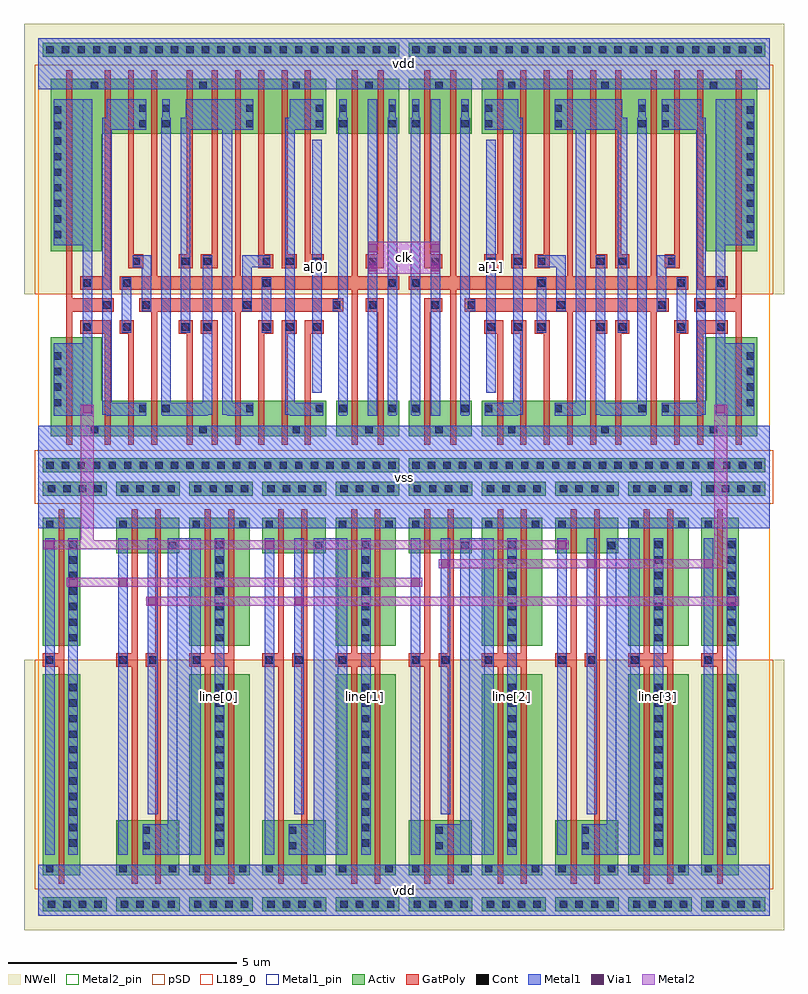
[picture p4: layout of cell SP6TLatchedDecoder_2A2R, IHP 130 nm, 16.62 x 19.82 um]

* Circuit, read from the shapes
.subckt SP6TLatchedDecoder_2A2R a[0] a[1] clk line[0] line[1] line[2] line[3] vdd vss
XM1 SP6TDec_nand2_x0_3/i0 SP6TDec_inv_x1_1/i vss vss sg13_lv_nmos w=2.8u l=0.13u
XM2 vss n1 SP6TDec_inv_x1_1/i vss sg13_lv_nmos w=2.17u l=0.13u
XM3 n2 SP6TDec_inv_x1_1/i vss vss sg13_lv_nmos w=0.78u l=0.13u
XM4 n1 n3 n2 vss sg13_lv_nmos w=0.78u l=0.13u
XM5 n4 SP6TDec_nand2_x0_3/i0 vss vss sg13_lv_nmos w=0.78u l=0.13u
XM6 n5 n6 n1 vss sg13_lv_nmos w=0.78u l=0.13u
XM7 SP6TDec_inv_x2_8/i SP6TDec_nand2_x0_3/i1 n4 vss sg13_lv_nmos w=0.78u l=0.13u
XM8 vss n7 n5 vss sg13_lv_nmos w=0.78u l=0.13u
XM9 line[0] SP6TDec_inv_x2_8/i vss vss sg13_lv_nmos w=2.8u l=0.13u m=2
XM10 n8 n5 vss vss sg13_lv_nmos w=0.78u l=0.13u
XM11 n7 n6 n8 vss sg13_lv_nmos w=0.78u l=0.13u
XM12 n9 n3 n7 vss sg13_lv_nmos w=0.78u l=0.13u
XM13 n10 SP6TDec_inv_x1_1/i vss vss sg13_lv_nmos w=0.78u l=0.13u
XM14 vss n11 n9 vss sg13_lv_nmos w=0.78u l=0.13u
XM15 SP6TDec_inv_x2_9/i SP6TDec_nand2_x0_3/i1 n10 vss sg13_lv_nmos w=0.78u l=0.13u
XM16 n11 a[0] vss vss sg13_lv_nmos w=0.78u l=0.13u
XM17 line[1] SP6TDec_inv_x2_9/i vss vss sg13_lv_nmos w=2.8u l=0.13u m=2
XM18 vss n3 n6 vss sg13_lv_nmos w=0.78u l=0.13u
XM19 n3 clk vss vss sg13_lv_nmos w=0.78u l=0.13u
XM20 n12 SP6TDec_nand2_x0_3/i0 vss vss sg13_lv_nmos w=0.78u l=0.13u
XM21 vss clk n13 vss sg13_lv_nmos w=0.78u l=0.13u
XM22 SP6TDec_inv_x2_10/i SP6TDec_inv_x1_2/i n12 vss sg13_lv_nmos w=0.78u l=0.13u
XM23 n14 n13 vss vss sg13_lv_nmos w=0.78u l=0.13u
XM24 vss a[1] n15 vss sg13_lv_nmos w=0.78u l=0.13u
XM25 line[2] SP6TDec_inv_x2_10/i vss vss sg13_lv_nmos w=2.8u l=0.13u m=2
XM26 n16 n15 vss vss sg13_lv_nmos w=0.78u l=0.13u
XM27 n17 n13 n16 vss sg13_lv_nmos w=0.78u l=0.13u
XM28 n18 n14 n17 vss sg13_lv_nmos w=0.78u l=0.13u
XM29 n19 SP6TDec_inv_x1_1/i vss vss sg13_lv_nmos w=0.78u l=0.13u
XM30 vss n20 n18 vss sg13_lv_nmos w=0.78u l=0.13u
XM31 SP6TDec_inv_x2_11/i SP6TDec_inv_x1_2/i n19 vss sg13_lv_nmos w=0.78u l=0.13u
XM32 n20 n17 vss vss sg13_lv_nmos w=0.78u l=0.13u
XM33 line[3] SP6TDec_inv_x2_11/i vss vss sg13_lv_nmos w=2.8u l=0.13u m=2
XM34 n21 n14 n20 vss sg13_lv_nmos w=0.78u l=0.13u
XM35 n22 n13 n21 vss sg13_lv_nmos w=0.78u l=0.13u
XM36 vss SP6TDec_inv_x1_2/i n22 vss sg13_lv_nmos w=0.78u l=0.13u
XM37 SP6TDec_nand2_x0_3/i1 SP6TDec_inv_x1_2/i vss vss sg13_lv_nmos w=2.8u l=0.13u
XM38 SP6TDec_inv_x1_2/i n21 vss vss sg13_lv_nmos w=2.17u l=0.13u
XM39 SP6TDec_nand2_x0_3/i0 SP6TDec_inv_x1_1/i vdd vdd sg13_lv_pmos w=4.4u l=0.13u
XM40 vdd n1 SP6TDec_inv_x1_1/i vdd sg13_lv_pmos w=3.77u l=0.13u
XM41 n23 SP6TDec_inv_x1_1/i vdd vdd sg13_lv_pmos w=1.2u l=0.13u
XM42 n1 n6 n23 vdd sg13_lv_pmos w=1.2u l=0.13u
XM43 SP6TDec_inv_x2_8/i SP6TDec_nand2_x0_3/i0 vdd vdd sg13_lv_pmos w=1.2u l=0.13u
XM44 n5 n3 n1 vdd sg13_lv_pmos w=1.2u l=0.13u
XM45 vdd SP6TDec_nand2_x0_3/i1 SP6TDec_inv_x2_8/i vdd sg13_lv_pmos w=1.2u l=0.13u
XM46 vdd n7 n5 vdd sg13_lv_pmos w=1.2u l=0.13u
XM47 line[0] SP6TDec_inv_x2_8/i vdd vdd sg13_lv_pmos w=4.4u l=0.13u m=2
XM48 n24 n5 vdd vdd sg13_lv_pmos w=1.2u l=0.13u
XM49 n7 n3 n24 vdd sg13_lv_pmos w=1.2u l=0.13u
XM50 n25 n6 n7 vdd sg13_lv_pmos w=1.2u l=0.13u
XM51 SP6TDec_inv_x2_9/i SP6TDec_inv_x1_1/i vdd vdd sg13_lv_pmos w=1.2u l=0.13u
XM52 vdd n11 n25 vdd sg13_lv_pmos w=1.2u l=0.13u
XM53 vdd SP6TDec_nand2_x0_3/i1 SP6TDec_inv_x2_9/i vdd sg13_lv_pmos w=1.2u l=0.13u
XM54 n11 a[0] vdd vdd sg13_lv_pmos w=1.2u l=0.13u
XM55 line[1] SP6TDec_inv_x2_9/i vdd vdd sg13_lv_pmos w=4.4u l=0.13u m=2
XM56 vdd n3 n6 vdd sg13_lv_pmos w=1.2u l=0.13u
XM57 n3 clk vdd vdd sg13_lv_pmos w=1.2u l=0.13u
XM58 SP6TDec_inv_x2_10/i SP6TDec_nand2_x0_3/i0 vdd vdd sg13_lv_pmos w=1.2u l=0.13u
XM59 vdd clk n13 vdd sg13_lv_pmos w=1.2u l=0.13u
XM60 vdd SP6TDec_inv_x1_2/i SP6TDec_inv_x2_10/i vdd sg13_lv_pmos w=1.2u l=0.13u
XM61 n14 n13 vdd vdd sg13_lv_pmos w=1.2u l=0.13u
XM62 vdd a[1] n15 vdd sg13_lv_pmos w=1.2u l=0.13u
XM63 line[2] SP6TDec_inv_x2_10/i vdd vdd sg13_lv_pmos w=4.4u l=0.13u m=2
XM64 n26 n15 vdd vdd sg13_lv_pmos w=1.2u l=0.13u
XM65 n17 n14 n26 vdd sg13_lv_pmos w=1.2u l=0.13u
XM66 n27 n13 n17 vdd sg13_lv_pmos w=1.2u l=0.13u
XM67 SP6TDec_inv_x2_11/i SP6TDec_inv_x1_1/i vdd vdd sg13_lv_pmos w=1.2u l=0.13u
XM68 vdd n20 n27 vdd sg13_lv_pmos w=1.2u l=0.13u
XM69 vdd SP6TDec_inv_x1_2/i SP6TDec_inv_x2_11/i vdd sg13_lv_pmos w=1.2u l=0.13u
XM70 n20 n17 vdd vdd sg13_lv_pmos w=1.2u l=0.13u
XM71 line[3] SP6TDec_inv_x2_11/i vdd vdd sg13_lv_pmos w=4.4u l=0.13u m=2
XM72 n21 n13 n20 vdd sg13_lv_pmos w=1.2u l=0.13u
XM73 n28 n14 n21 vdd sg13_lv_pmos w=1.2u l=0.13u
XM74 vdd SP6TDec_inv_x1_2/i n28 vdd sg13_lv_pmos w=1.2u l=0.13u
XM75 SP6TDec_nand2_x0_3/i1 SP6TDec_inv_x1_2/i vdd vdd sg13_lv_pmos w=4.4u l=0.13u
XM76 SP6TDec_inv_x1_2/i n21 vdd vdd sg13_lv_pmos w=3.77u l=0.13u
.ends

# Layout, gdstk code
from math import pi, radians
import gdstk
lib = gdstk.Library(unit=1e-6, precision=1e-09)
def R(c, l, rs):  # rectangles x0, y0, x1, y1
    for r in rs: c.add(gdstk.rectangle(r[:2], r[2:], *l))
def A(c, l, x, y, w, h, nx, ny, dx, dy):  # array of equal rectangles
    R(c, l, [(x+i*dx, y+j*dy, x+i*dx+w, y+j*dy+h) for i in range(nx) for j in range(ny)])
def P(c, l, *ps):  # polygons
    for p in ps: c.add(gdstk.Polygon(p, *l))
Activ = (1, 0)
GatPoly = (5, 0)
Cont = (6, 0)
Metal1 = (8, 0)
Metal1_pin = (8, 2)
Metal2 = (10, 0)
Metal2_pin = (10, 2)
pSD = (14, 0)
Via1 = (19, 0)
NWell = (31, 0)
L189_0 = (189, 0)

sp6tdec_dff_x1 = lib.new_cell('SP6TDec_dff_x1')
R(sp6tdec_dff_x1, Activ, [(0.105,0.105,7.895,0.405), (0.105,0.89,1.485,1.67), (0.105,7.51,1.485,8.71), (0.105,9.195,7.895,9.495)])
P(sp6tdec_dff_x1, Activ, [(6.615,4.94),(6.615,7.51),(1.695,7.51),(1.695,8.71),(7.725,8.71),(7.725,4.94)],
  [(1.695,0.89),(1.695,1.67),(6.615,1.67),(6.615,3.06),(7.725,3.06),(7.725,0.89)])
P(sp6tdec_dff_x1, GatPoly, [(2.035,0.71),(2.035,3.13),(1.755,3.13),(1.755,3.43),(2.165,3.43),(2.165,0.71)],
  [(6.415,4.09),(6.415,8.89),(6.545,8.89),(6.545,4.39),(7.075,4.39),(7.075,4.09)],
  [(1.755,4.57),(1.755,4.87),(2.035,4.87),(2.035,8.89),(2.165,8.89),(2.165,4.57)],
  [(6.415,0.71),(6.415,3.43),(7.075,3.43),(7.075,3.13),(6.545,3.13),(6.545,0.71)],
  [(5.905,0.71),(5.905,3.43),(6.215,3.43),(6.215,3.13),(6.035,3.13),(6.035,0.71)],
  [(2.545,0.71),(2.545,3.13),(2.345,3.13),(2.345,3.43),(2.675,3.43),(2.675,0.71)],
  [(3.055,0.71),(3.055,3.13),(2.855,3.13),(2.855,3.43),(3.185,3.43),(3.185,0.71)],
  [(0.445,0.71),(0.445,3.91),(0.835,3.91),(0.835,3.61),(0.575,3.61),(0.575,0.71)],
  [(3.565,0.71),(3.565,3.61),(1.325,3.61),(1.325,3.91),(5.785,3.91),(5.785,3.61),(5.525,3.61),(5.525,0.71),(5.395,0.71),(5.395,3.61),(3.695,3.61),(3.695,0.71)],
  [(4.625,0.71),(4.625,3.43),(4.925,3.43),(4.925,3.13),(4.755,3.13),(4.755,0.71)],
  [(4.075,0.71),(4.075,3.43),(4.445,3.43),(4.445,3.13),(4.205,3.13),(4.205,0.71)],
  [(7.255,0.71),(7.255,3.61),(6.345,3.61),(6.345,3.91),(7.255,3.91),(7.255,8.89),(7.385,8.89),(7.385,0.71)],
  [(1.015,0.71),(1.015,4.09),(0.105,4.09),(0.105,4.39),(1.015,4.39),(1.015,8.89),(1.145,8.89),(1.145,4.39),(3.565,4.39),(3.565,8.89),(3.695,8.89),(3.695,4.39),(5.395,4.39),(5.395,8.89),(5.525,8.89),(5.525,4.39),(6.215,4.39),(6.215,4.09),(1.145,4.09),(1.145,0.71)],
  [(4.625,4.57),(4.625,8.89),(4.755,8.89),(4.755,4.87),(4.925,4.87),(4.925,4.57)],
  [(4.075,4.57),(4.075,8.89),(4.205,8.89),(4.205,4.87),(4.445,4.87),(4.445,4.57)],
  [(0.445,4.57),(0.445,8.89),(0.575,8.89),(0.575,4.87),(0.835,4.87),(0.835,4.57)],
  [(2.345,4.57),(2.345,4.87),(2.545,4.87),(2.545,8.89),(2.675,8.89),(2.675,4.57)],
  [(2.855,4.57),(2.855,4.87),(3.055,4.87),(3.055,8.89),(3.185,8.89),(3.185,4.57)],
  [(5.705,4.57),(5.705,4.87),(5.905,4.87),(5.905,8.89),(6.035,8.89),(6.035,4.57)])
A(sp6tdec_dff_x1, Cont, 0.18, 0.175, 0.16, 0.16, 23, 2, 0.34, 9.09)
A(sp6tdec_dff_x1, Cont, 7.495, 1.545, 0.16, 0.16, 1, 4, 0, 0.34)
A(sp6tdec_dff_x1, Cont, 7.495, 5.225, 0.16, 0.16, 1, 9, 0, 0.34)
R(sp6tdec_dff_x1, Cont, [(0.685,0.96,0.845,1.12), (2.275,0.96,2.435,1.12), (4.315,0.96,4.475,1.12), (6.685,0.96,6.845,1.12), (0.175,1.415,0.335,1.575), (1.255,1.415,1.415,1.575), (1.765,1.415,1.925,1.575), (3.295,1.415,3.455,1.575), (5.125,1.415,5.285,1.575), (5.635,1.415,5.795,1.575), (1.825,3.2,1.985,3.36), (2.415,3.2,2.575,3.36), (2.925,3.2,3.085,3.36), (4.215,3.2,4.375,3.36), (4.695,3.2,4.855,3.36), (5.985,3.2,6.145,3.36), (6.845,3.2,7.005,3.36), (0.605,3.68,0.765,3.84), (1.395,3.68,1.555,3.84), (3.355,3.68,3.515,3.84), (5.555,3.68,5.715,3.84), (6.415,3.68,6.575,3.84), (0.175,4.16,0.335,4.32), (2.925,4.16,3.085,4.32), (5.985,4.16,6.145,4.32), (6.845,4.16,7.005,4.32), (0.605,4.64,0.765,4.8), (1.825,4.64,1.985,4.8), (2.415,4.64,2.575,4.8), (2.925,4.64,3.085,4.8), (4.215,4.64,4.375,4.8), (4.695,4.64,4.855,4.8), (5.775,4.64,5.935,4.8), (0.175,7.645,0.335,7.805), (1.255,7.645,1.415,7.805), (1.765,7.645,1.925,7.805), (3.295,7.645,3.455,7.805), (5.125,7.645,5.285,7.805), (5.635,7.645,5.795,7.805), (0.175,7.985,0.335,8.145), (1.255,7.985,1.415,8.145), (1.765,7.985,1.925,8.145), (3.295,7.985,3.455,8.145), (5.125,7.985,5.285,8.145), (5.635,7.985,5.795,8.145), (0.685,8.48,0.845,8.64), (2.275,8.48,2.435,8.64), (4.315,8.48,4.475,8.64), (6.685,8.48,6.845,8.64)])
R(sp6tdec_dff_x1, Metal1, [(0,0,8,1.12), (0.58,1.34,0.79,8.26), (1.8,1.845,2.01,7.375), (2.9,3.15,3.11,4.37), (5.96,3.15,6.17,4.37), (0,8.48,8,9.6)])
P(sp6tdec_dff_x1, Metal1, [(0.175,1.34),(0.175,1.365),(0.15,1.365),(0.15,7.855),(0.175,7.855),(0.175,8.26),(0.335,8.26),(0.335,7.855),(0.36,7.855),(0.36,1.365),(0.335,1.365),(0.335,1.34)],
  [(5.53,3.63),(5.53,4.85),(5.935,4.85),(5.935,4.59),(5.74,4.59),(5.74,3.63)],
  [(3.33,3.63),(3.33,4.59),(2.925,4.59),(2.925,4.85),(3.54,4.85),(3.54,3.63)],
  [(3.295,1.34),(3.295,1.625),(3.76,1.625),(3.76,7.595),(3.295,7.595),(3.295,8.26),(4.775,8.26),(4.775,7.855),(4.88,7.855),(4.88,3.15),(4.67,3.15),(4.67,7.595),(3.97,7.595),(3.97,1.365),(3.865,1.365),(3.865,1.34)],
  [(1.255,1.34),(1.255,1.365),(1.23,1.365),(1.23,7.855),(1.255,7.855),(1.255,8.26),(1.415,8.26),(1.415,7.855),(1.44,7.855),(1.44,3.89),(1.555,3.89),(1.555,3.63),(1.44,3.63),(1.44,1.365),(1.415,1.365),(1.415,1.34)],
  [(1.765,1.34),(1.765,1.625),(2.39,1.625),(2.39,7.595),(1.765,7.595),(1.765,8.26),(2.495,8.26),(2.495,7.855),(2.6,7.855),(2.6,1.365),(2.495,1.365),(2.495,1.34)],
  [(4.295,1.34),(4.295,1.365),(4.19,1.365),(4.19,4.85),(4.4,4.85),(4.4,1.625),(5.1,1.625),(5.1,7.855),(5.125,7.855),(5.125,8.26),(5.285,8.26),(5.285,7.855),(5.31,7.855),(5.31,1.365),(5.285,1.365),(5.285,1.34)],
  [(5.635,1.34),(5.635,1.625),(6.39,1.625),(6.39,7.595),(5.635,7.595),(5.635,8.26),(6.495,8.26),(6.495,7.855),(6.6,7.855),(6.6,1.365),(6.495,1.365),(6.495,1.34)],
  [(6.82,1.34),(6.82,8.26),(7.655,8.26),(7.655,5.07),(7.03,5.07),(7.03,2.93),(7.655,2.93),(7.655,1.34)])
R(sp6tdec_dff_x1, Metal1_pin, [(0,0,8,1.12), (0.58,1.34,0.79,8.26), (6.82,1.34,7.03,8.26), (1.8,1.845,2.01,7.375), (0,8.48,8,9.6)])
R(sp6tdec_dff_x1, pSD, [(-0.075,-0.075,8.075,0.585), (-0.075,4,8.075,9.01)])
R(sp6tdec_dff_x1, NWell, [(-0.31,4,8.31,9.91)])
sp6tdec_dff_x1.add(gdstk.Label('vdd', (4,9.04), layer=8, texttype=25))
sp6tdec_dff_x1.add(gdstk.Label('vss', (4,0.56), layer=8, texttype=25))
sp6tdec_dff_x1.add(gdstk.Label('clk', (0.685,4.8), layer=8, texttype=25))
sp6tdec_dff_x1.add(gdstk.Label('i', (1.905,4.61), layer=8, texttype=25))
sp6tdec_dff_x1.add(gdstk.Label('q', (6.925,4.8), layer=8, texttype=25))

sp6tdec_inv_x1 = lib.new_cell('SP6TDec_inv_x1')
R(sp6tdec_inv_x1, Activ, [(0.105,0.105,1.495,0.405), (0.105,0.89,0.915,3.69), (0.105,4.31,0.915,8.71), (0.105,9.195,1.495,9.495)])
P(sp6tdec_inv_x1, GatPoly, [(0.445,0.71),(0.445,3.85),(0.105,3.85),(0.105,4.15),(0.445,4.15),(0.445,8.89),(0.575,8.89),(0.575,0.71)])
A(sp6tdec_inv_x1, Cont, 0.21, 0.175, 0.16, 0.16, 4, 2, 0.34, 9.09)
A(sp6tdec_inv_x1, Cont, 0.685, 1.395, 0.16, 0.16, 1, 7, 0, 0.34)
A(sp6tdec_inv_x1, Cont, 0.685, 4.525, 0.16, 0.16, 1, 11, 0, 0.34)
R(sp6tdec_inv_x1, Cont, [(0.175,0.96,0.335,1.12), (0.175,3.92,0.335,4.08), (0.175,8.48,0.335,8.64)])
R(sp6tdec_inv_x1, Metal1, [(0,0,1.6,1.12), (0.15,1.34,0.36,8.26), (0.66,1.34,0.87,8.26), (0,8.48,1.6,9.6)])
R(sp6tdec_inv_x1, Metal1_pin, [(0,0,1.6,1.12), (0.15,1.34,0.36,8.26), (0.66,1.34,0.87,8.26), (0,8.48,1.6,9.6)])
R(sp6tdec_inv_x1, pSD, [(-0.075,-0.075,1.675,0.585), (-0.075,4,1.675,9.01)])
R(sp6tdec_inv_x1, NWell, [(-0.31,4,1.91,9.91)])
sp6tdec_inv_x1.add(gdstk.Label('vss', (0.8,0.56), layer=8, texttype=25))
sp6tdec_inv_x1.add(gdstk.Label('vdd', (0.8,9.04), layer=8, texttype=25))
sp6tdec_inv_x1.add(gdstk.Label('nq', (0.765,4.8), layer=8, texttype=25))
sp6tdec_inv_x1.add(gdstk.Label('i', (0.255,4.8), layer=8, texttype=25))

sp6tdec_nand2_x0 = lib.new_cell('SP6TDec_nand2_x0')
R(sp6tdec_nand2_x0, Activ, [(0.105,0.105,1.495,0.405), (0.105,0.89,1.485,1.67), (0.105,7.51,1.485,8.71), (0.105,9.195,1.495,9.495)])
P(sp6tdec_nand2_x0, GatPoly, [(0.445,0.71),(0.445,3.85),(0.105,3.85),(0.105,4.15),(0.445,4.15),(0.445,8.89),(0.575,8.89),(0.575,0.71)],
  [(0.955,0.71),(0.955,3.85),(0.755,3.85),(0.755,4.15),(0.955,4.15),(0.955,8.89),(1.085,8.89),(1.085,0.71)])
A(sp6tdec_nand2_x0, Cont, 0.21, 0.175, 0.16, 0.16, 4, 2, 0.34, 9.09)
R(sp6tdec_nand2_x0, Cont, [(0.175,0.96,0.335,1.12), (1.255,1.415,1.415,1.575), (0.175,3.92,0.335,4.08), (0.825,3.92,0.985,4.08), (0.685,7.645,0.845,7.805), (0.685,7.985,0.845,8.145), (0.175,8.48,0.335,8.64), (1.255,8.48,1.415,8.64)])
R(sp6tdec_nand2_x0, Metal1, [(0,0,1.6,1.12), (0.15,1.34,0.36,8.26), (0.8,1.34,1.01,7.375), (0,8.48,1.6,9.6)])
P(sp6tdec_nand2_x0, Metal1, [(1.23,1.34),(1.23,7.595),(0.685,7.595),(0.685,8.26),(1.44,8.26),(1.44,1.34)])
R(sp6tdec_nand2_x0, Metal1_pin, [(0,0,1.6,1.12), (0.15,1.34,0.36,8.26), (0.8,1.34,1.01,7.375), (1.23,1.34,1.44,8.26), (0,8.48,1.6,9.6)])
R(sp6tdec_nand2_x0, pSD, [(-0.075,-0.075,1.675,0.585), (-0.075,4,1.675,9.01)])
R(sp6tdec_nand2_x0, NWell, [(-0.31,4,1.91,9.91)])
sp6tdec_nand2_x0.add(gdstk.Label('vss', (0.8,0.56), layer=8, texttype=25))
sp6tdec_nand2_x0.add(gdstk.Label('vdd', (0.8,9.04), layer=8, texttype=25))
sp6tdec_nand2_x0.add(gdstk.Label('i0', (0.255,4.8), layer=8, texttype=25))
sp6tdec_nand2_x0.add(gdstk.Label('i1', (0.905,4.358), layer=8, texttype=25))
sp6tdec_nand2_x0.add(gdstk.Label('nq', (1.335,4.8), layer=8, texttype=25))

sp6tdec_inv_x2 = lib.new_cell('SP6TDec_inv_x2')
R(sp6tdec_inv_x2, Activ, [(0.105,0.105,1.495,0.405), (0.105,0.89,1.425,3.69), (0.105,4.31,1.425,8.71), (0.105,9.195,1.495,9.495)])
P(sp6tdec_inv_x2, GatPoly, [(0.445,0.71),(0.445,3.85),(0.105,3.85),(0.105,4.15),(0.445,4.15),(0.445,8.89),(0.575,8.89),(0.575,4.15),(0.955,4.15),(0.955,8.89),(1.085,8.89),(1.085,0.71),(0.955,0.71),(0.955,3.85),(0.575,3.85),(0.575,0.71)])
A(sp6tdec_inv_x2, Cont, 0.21, 0.175, 0.16, 0.16, 4, 2, 0.34, 9.09)
A(sp6tdec_inv_x2, Cont, 0.685, 1.395, 0.16, 0.16, 1, 7, 0, 0.34)
A(sp6tdec_inv_x2, Cont, 0.685, 4.525, 0.16, 0.16, 1, 11, 0, 0.34)
R(sp6tdec_inv_x2, Cont, [(0.175,0.96,0.335,1.12), (1.195,0.96,1.355,1.12), (0.175,3.92,0.335,4.08), (0.175,8.48,0.335,8.64), (1.195,8.48,1.355,8.64)])
R(sp6tdec_inv_x2, Metal1, [(0,0,1.6,1.12), (0.15,1.34,0.36,8.26), (0.66,1.34,0.87,8.26), (0,8.48,1.6,9.6)])
R(sp6tdec_inv_x2, Metal1_pin, [(0,0,1.6,1.12), (0.15,1.34,0.36,8.26), (0.66,1.34,0.87,8.26), (0,8.48,1.6,9.6)])
R(sp6tdec_inv_x2, pSD, [(-0.075,-0.075,1.675,0.585), (-0.075,4,1.675,9.01)])
R(sp6tdec_inv_x2, NWell, [(-0.31,4,1.91,9.91)])
sp6tdec_inv_x2.add(gdstk.Label('vss', (0.8,0.56), layer=8, texttype=25))
sp6tdec_inv_x2.add(gdstk.Label('vdd', (0.8,9.04), layer=8, texttype=25))
sp6tdec_inv_x2.add(gdstk.Label('nq', (0.765,4.8), layer=8, texttype=25))
sp6tdec_inv_x2.add(gdstk.Label('i', (0.255,4.8), layer=8, texttype=25))

sp6tlatcheddecoder_2a2r = lib.new_cell('SP6TLatchedDecoder_2A2R')
A(sp6tlatcheddecoder_2a2r, Metal1, 2.83, -8.26, 0.73, 6.92, 4, 1, 3.2, 0)
A(sp6tlatcheddecoder_2a2r, Metal1, 3.86, -8.26, 0.21, 6.92, 4, 1, 3.2, 0)
R(sp6tlatcheddecoder_2a2r, Metal1, [(0,-9.6,16,-8.48), (2.4,-2.86,2.61,-2.57), (5.6,-2.86,5.81,-2.57), (15.06,-2.86,15.27,-2.57), (0.66,-2.45,0.87,-2.16), (1.75,-2.45,1.96,-2.16), (8.15,-2.45,8.36,-2.16), (8.8,-2.04,9.01,-1.75), (12,-2.04,12.21,-1.75), (14.55,-2.04,14.76,-1.75), (0.15,-1.63,0.36,-1.34), (4.95,-1.63,5.16,-1.34), (11.35,-1.63,11.56,-1.34), (0,-1.12,16,1.12), (0.97,1.34,1.18,1.63), (14.82,1.34,15.03,1.63), (5.99,1.845,6.2,7.375), (9.8,1.845,10.01,7.375), (7.21,4.45,7.42,5.15), (8.58,4.45,8.79,5.15), (0,8.48,16,9.6)])
A(sp6tlatcheddecoder_2a2r, Metal1_pin, 3.86, -8.26, 0.21, 6.92, 4, 1, 3.2, 0)
R(sp6tlatcheddecoder_2a2r, Metal1_pin, [(0,-9.6,16,-8.48), (0,-1.12,16,1.12), (5.99,1.845,6.2,7.375), (9.8,1.845,10.01,7.375), (0,8.48,16,9.6)])
R(sp6tlatcheddecoder_2a2r, Metal2, [(2.36,-2.815,15.31,-2.615), (0.62,-2.405,8.4,-2.205), (7.215,4.45,8.785,5.15)])
P(sp6tlatcheddecoder_2a2r, Metal2, [(0.11,-1.585),(0.11,-1.385),(0.93,-1.385),(0.93,1.585),(1.22,1.585),(1.22,-1.385),(11.6,-1.385),(11.6,-1.585)],
  [(8.76,-1.995),(8.76,-1.795),(14.78,-1.795),(14.78,1.585),(15.07,1.585),(15.07,-1.995)])
R(sp6tlatcheddecoder_2a2r, Metal2_pin, [(7.215,4.45,8.785,5.15)])
R(sp6tlatcheddecoder_2a2r, Via1, [(2.41,-2.81,2.6,-2.62), (5.61,-2.81,5.8,-2.62), (15.07,-2.81,15.26,-2.62), (0.67,-2.4,0.86,-2.21), (1.76,-2.4,1.95,-2.21), (8.16,-2.4,8.35,-2.21), (8.81,-1.99,9,-1.8), (12.01,-1.99,12.2,-1.8), (14.56,-1.99,14.75,-1.8), (0.16,-1.58,0.35,-1.39), (4.96,-1.58,5.15,-1.39), (11.36,-1.58,11.55,-1.39), (0.98,1.39,1.17,1.58), (14.83,1.39,15.02,1.58), (7.22,4.5,7.41,4.69), (8.59,4.5,8.78,4.69), (7.22,4.91,7.41,5.1), (8.59,4.91,8.78,5.1)])
R(sp6tlatcheddecoder_2a2r, L189_0, [(0,-9.6,16,9.6)])
sp6tlatcheddecoder_2a2r.add(gdstk.Reference(sp6tdec_dff_x1, (8,0), rotation=pi, x_reflection=True))
sp6tlatcheddecoder_2a2r.add(gdstk.Reference(sp6tdec_inv_x1, (0,0), x_reflection=True))
sp6tlatcheddecoder_2a2r.add(gdstk.Reference(sp6tdec_inv_x1, (14.4,0), x_reflection=True))
sp6tlatcheddecoder_2a2r.add(gdstk.Reference(sp6tdec_nand2_x0, (1.6,0), x_reflection=True))
sp6tlatcheddecoder_2a2r.add(gdstk.Reference(sp6tdec_nand2_x0, (4.8,0), x_reflection=True))
sp6tlatcheddecoder_2a2r.add(gdstk.Reference(sp6tdec_nand2_x0, (8,0), x_reflection=True))
sp6tlatcheddecoder_2a2r.add(gdstk.Reference(sp6tdec_nand2_x0, (11.2,0), x_reflection=True))
sp6tlatcheddecoder_2a2r.add(gdstk.Reference(sp6tdec_dff_x1, (8,0)))
sp6tlatcheddecoder_2a2r.add(gdstk.Reference(sp6tdec_inv_x2, (3.2,0), x_reflection=True))
sp6tlatcheddecoder_2a2r.add(gdstk.Reference(sp6tdec_inv_x2, (6.4,0), x_reflection=True))
sp6tlatcheddecoder_2a2r.add(gdstk.Reference(sp6tdec_inv_x2, (9.6,0), x_reflection=True))
sp6tlatcheddecoder_2a2r.add(gdstk.Reference(sp6tdec_inv_x2, (12.8,0), x_reflection=True))
sp6tlatcheddecoder_2a2r.add(gdstk.Label('clk', (8,4.8), layer=10, texttype=25))
sp6tlatcheddecoder_2a2r.add(gdstk.Label('vss', (8,0), layer=8, texttype=25))
sp6tlatcheddecoder_2a2r.add(gdstk.Label('line[0]', (3.965,-4.8), layer=8, texttype=25))
sp6tlatcheddecoder_2a2r.add(gdstk.Label('vdd', (8,-9.04), layer=8, texttype=25))
sp6tlatcheddecoder_2a2r.add(gdstk.Label('vdd', (8,9.04), layer=8, texttype=25))
sp6tlatcheddecoder_2a2r.add(gdstk.Label('a[0]', (6.095,4.61), layer=8, texttype=25))
sp6tlatcheddecoder_2a2r.add(gdstk.Label('a[1]', (9.905,4.61), layer=8, texttype=25))
sp6tlatcheddecoder_2a2r.add(gdstk.Label('line[1]', (7.165,-4.8), layer=8, texttype=25))
sp6tlatcheddecoder_2a2r.add(gdstk.Label('line[2]', (10.365,-4.8), layer=8, texttype=25))
sp6tlatcheddecoder_2a2r.add(gdstk.Label('line[3]', (13.565,-4.8), layer=8, texttype=25))

lib.write_gds('SP6TLatchedDecoder_2A2R.gds')
